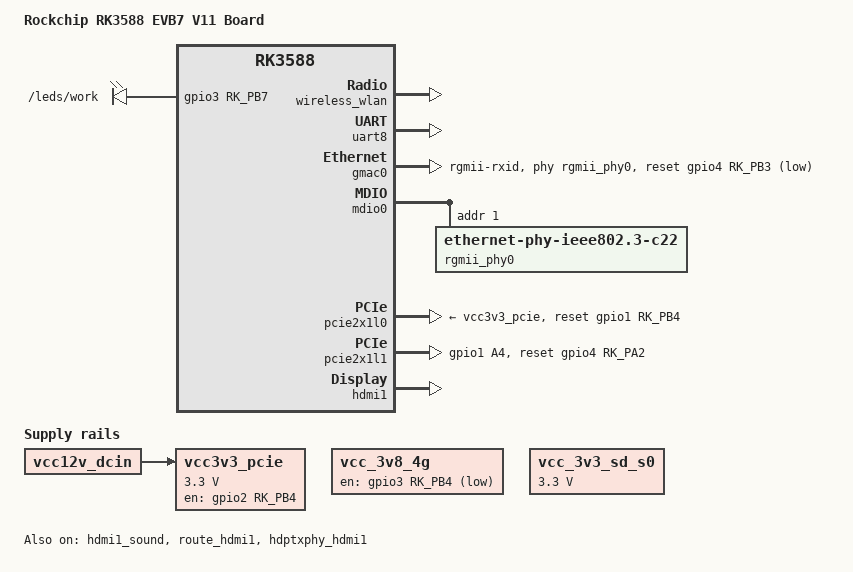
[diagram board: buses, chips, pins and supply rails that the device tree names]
// SPDX-License-Identifier: (GPL-2.0+ OR MIT)
/*
 * Copyright (c) 2023 Rockchip Electronics Co., Ltd.
 *
 * 定昌电子 DC-A588-V04 载板 + DC-CM3588 核心板（RK3588）。
 *
 * 板级配置取自厂商官方固件设备树 rk3588-evb7-lp4-v10：
 *   pcie2x1l0 (fe170000) - mini-PCIe 座，扩展 3G/4G 模块
 *   pcie2x1l1 (fe180000) - 板载 RTL8111 千兆网卡（第二路 RJ45）
 *   pcie3x4 / pcie3x2 / pcie2x1l2 / pcie30phy - 本板未引出
 *   gmac0 (fe1b0000) - 第一路 RJ45；gmac1 (fe1c0000) 未引出
 *   uart8 (ttyS8) - AP6275P 蓝牙
 */

/dts-v1/;

#include "rk3588-evb7-v11.dtsi"
#include "rk3588-standard.dtsi"

/ {
	model = "Rockchip RK3588 EVB7 V11 Board";
	compatible = "rockchip,rk3588-evb7-v11", "rockchip,rk3588";

	/* mini-PCIe 座 3.3V 供电：GPIO2_B4 使能，上电延时 5ms */
	vcc3v3_pcie: vcc3v3-pcie {
		compatible = "regulator-fixed";
		regulator-name = "vcc3v3_pcie";
		regulator-min-microvolt = <3300000>;
		regulator-max-microvolt = <3300000>;
		enable-active-high;
		gpios = <&gpio2 RK_PB4 GPIO_ACTIVE_HIGH>;
		startup-delay-us = <5000>;
		vin-supply = <&vcc12v_dcin>;
	};

	/* mini-PCIe 座 3.8V（4G 模块）常开供电：GPIO3_B4，低有效 */
	vcc_3v8_4g: vcc-3v8-4g {
		compatible = "regulator-fixed";
		regulator-name = "vcc_3v8_4g";
		regulator-boot-on;
		regulator-always-on;
		gpio = <&gpio3 RK_PB4 GPIO_ACTIVE_LOW>;
	};
};

&wireless_wlan {
	/delete-property/ WIFI,poweren-gpios;
};

/* DC-A588 功放/耳机控制脚与 EVB7 不同，同时把 GPIO4_A2 让给 PCIe 复位 */
&es8388_sound {
	spk-con-gpio = <&gpio1 RK_PD3 GPIO_ACTIVE_HIGH>;
	hp-con-gpio  = <&gpio1 RK_PD2 GPIO_ACTIVE_HIGH>;
};

&pinctrl {
	/* RTL8111 隔离脚，PCIe 侧要求上拉 */
	rtl8111 {
		rtl8111_isolate: rtl8111-isolate {
			rockchip,pins = <1 RK_PA4 RK_FUNC_GPIO &pcfg_pull_up>;
		};
	};

	/* 蓝牙 RTS 已从 GPIO4_C4 移到 GPIO3_A4 */
	wireless-bluetooth {
		uart8_rts_gpio: uart8-rts-gpio {
			rockchip,pins = <3 RK_PA4 RK_FUNC_GPIO &pcfg_pull_none>;
		};
	};

	leds {
		work_led_gpio: work-led-gpio {
			rockchip,pins = <3 RK_PB7 RK_FUNC_GPIO &pcfg_pull_none>;
		};
	};
};

/* 状态灯在 DC-A588 上是 GPIO3_B7，EVB7 用的 GPIO1_C6 在本板无引出。
 * EVB7 把 GPIO3_B7 用作 gmac1 的 PHY 复位，本板 gmac1 未引出。 */
&{/leds/work} {
	gpios = <&gpio3 RK_PB7 GPIO_ACTIVE_HIGH>;
	pinctrl-names = "default";
	pinctrl-0 = <&work_led_gpio>;
};

/* 蓝牙挂在 UART8；EVB7 的 GPIO4_C4 在本板是 GMAC0 的 MDC。
 * TX/RX/CTS 由 &uart8 独占，蓝牙节点只声明 RTS 与三个控制脚，
 * 否则两个设备同时 request uart8m1-xfer 会让蓝牙 probe 失败。 */
&uart8 {
	pinctrl-names = "default";
	pinctrl-0 = <&uart8m1_xfer &uart8m1_ctsn>;
	status = "okay";
};

&wireless_bluetooth {
	bt_port = "/dev/ttyS8";
	uart_rts-gpios = <&gpio3 RK_PA4 GPIO_ACTIVE_LOW>;
	pinctrl-names = "default", "rts_gpio";
	pinctrl-0 = <&uart8m1_rtsn &bt_reset_gpio &bt_wake_gpio &bt_irq_gpio>;
	pinctrl-1 = <&uart8_rts_gpio>;
};

/* 第一路 RJ45：GMAC0 + RTL8211F */
&gmac0 {
	phy-mode = "rgmii-rxid";
	clock_in_out = "output";

	snps,reset-gpio = <&gpio4 RK_PB3 GPIO_ACTIVE_LOW>;
	snps,reset-active-low;
	snps,reset-delays-us = <0 20000 100000>;

	pinctrl-names = "default";
	pinctrl-0 = <&gmac0_miim
		     &gmac0_tx_bus2
		     &gmac0_rx_bus2
		     &gmac0_rgmii_clk
		     &gmac0_rgmii_bus>;

	tx_delay = <0x43>;

	phy-handle = <&rgmii_phy0>;
	status = "okay";
};

&mdio0 {
	rgmii_phy0: phy@1 {
		compatible = "ethernet-phy-ieee802.3-c22";
		reg = <0x1>;
	};
};

&gmac1 {
	status = "disabled";
};

/* 以下两个节点在 EVB7 上占用的引脚，在 DC-A588 上属于 GMAC0 */
&vcc3v3_lcd_n {
	/delete-property/ gpio;
};

&i2c4 {
	status = "disabled";
};

/* EVB7 把 ttyS9 的 CTS 配在 GPIO4_C5、RX 配在 GPIO2_C2，与 GMAC0 冲突 */
&uart9 {
	status = "disabled";
};

/* 本板没有 SDIO WiFi（mini-PCIe 上是 RTL8852BE） */
&sdio {
	status = "disabled";
};

/* TF 卡供电为固定 3.3V，缺电压约束时 mmc 报 could not set regulator OCR */
&vcc_3v3_sd_s0 {
	regulator-min-microvolt = <3300000>;
	regulator-max-microvolt = <3300000>;
};

/* 摄像头供电脚与 ES8388 功放脚（GPIO1_D2/D3）重叠，本板无摄像头 */
&vcc_mipicsi0 {
	status = "disabled";
};

&vcc_mipicsi1 {
	status = "disabled";
};

/* 本板无触摸屏，且 gt1x 与 hynitron 抢同一组 GPIO3_C0/C1 */
&i2c5 {
	status = "disabled";
};

/* HDMI-IN 热插拔检测在 DC-A588 上是 GPIO2_B5，EVB7 用的是 GPIO1_D5 */
&{/hdmirx-controller@fdee0000} {
	hdmirx-det-gpios = <&gpio2 RK_PB5 GPIO_ACTIVE_LOW>;
};

/* mini-PCIe：3G/4G 模块 */
&pcie2x1l0 {
	status = "okay";
	reset-gpios = <&gpio1 RK_PB4 GPIO_ACTIVE_HIGH>;
	vpcie3v3-supply = <&vcc3v3_pcie>;
	rockchip,skip-scan-in-resume;
};

/* 板载 RTL8111 千兆网卡 */
&pcie2x1l1 {
	status = "okay";
	reset-gpios = <&gpio4 RK_PA2 GPIO_ACTIVE_HIGH>;
	pinctrl-names = "default";
	pinctrl-0 = <&rtl8111_isolate>;
};

&pcie3x4 {
	status = "disabled";
};

&pcie3x2 {
	status = "disabled";
};

&pcie2x1l2 {
	status = "disabled";
};

&pcie30phy {
	status = "disabled";
};

/* 显示输出：DC-A588 有 HDMI OUT0、HDMI OUT1 两个输出口，另有 HDMI IN 输入口。
 * EDP0 / EDP1 连接器与 HDMI OUT0 / OUT1 复用同一组走线，本板按 HDMI 使用，
 * 与厂商官方固件一致（固件里 dp0/dp1/edp0/edp1 全为 disabled）。
 * HDMI1 走 VP1，引脚为 GPIO3_C4/C5/C6（CEC/DDC）与 GPIO1_A6（HPD）。 */
&hdmi1 {
	status = "okay";
};

&hdmi1_sound {
	status = "okay";
};

&route_hdmi1 {
	status = "okay";
};

&dp0 {
	status = "disabled";
};

&dp1 {
	status = "disabled";
};

&dp0_sound {
	status = "disabled";
};

&dp1_sound {
	status = "disabled";
};

/* HDMI1 的 TX PHY */
&hdptxphy_hdmi1 {
	status = "okay";
};

/* DSI：EVB7 dtsi 默认开启 dsi0 并挂一个 simple-panel-dsi（1080x1920 竖屏，
 * 像素时钟 132MHz）。该 panel 节点不需要 i2c 探测，本板 DSI 接口空着也照样
 * probe 成功，于是 DRM 里多出一个不存在的 1080x1920 显示器，
 * OpenHarmony 显示合成器取到它的宽度 1080，而 HDMI 实际是 1920x1080，
 * 表现为画面只占屏幕约 56% 宽度、右侧鼠标进不去。
 * 本板 DSI 连接器无面板，整条链路关闭。 */
&dsi0 {
	status = "disabled";
};

&route_dsi0 {
	status = "disabled";
};

&mipi_dcphy0 {
	status = "disabled";
};

/* 本板无摄像头，EVB7/SoC dtsi 默认开启的 MIPI D-PHY 全部关闭 */
&csi2_dphy0_hw {
	status = "disabled";
};

&csi2_dphy1_hw {
	status = "disabled";
};

&mipidcphy1 {
	status = "disabled";
};

&{/dp@fde50000/ports/port@0/endpoint@2} {
	status = "disabled";
};

&{/dp@fde60000/ports/port@0/endpoint@2} {
	status = "disabled";
};
